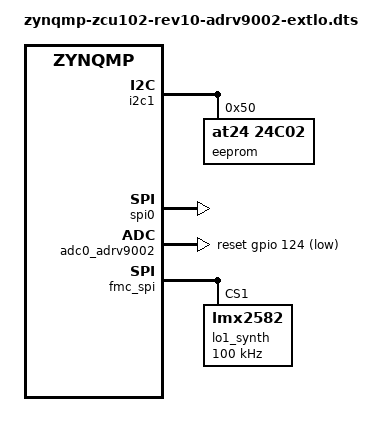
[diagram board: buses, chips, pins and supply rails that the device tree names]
// SPDX-License-Identifier: GPL-2.0
/*
 * Analog Devices ADRV9002
 *
 * hdl_project: <adrv9001/zcu102>
 * board_revision: <>
 *
 * Copyright (C) 2020 Analog Devices Inc.
 */
#include "zynqmp-zcu102-rev1.0.dts"
#include <dt-bindings/interrupt-controller/irq.h>
#include <dt-bindings/gpio/gpio.h>
#include <dt-bindings/iio/frequency/lmx2582.h>

&i2c1 {
	i2c-mux@75 {
		i2c@0 { /* HPC0 */
			#address-cells = <1>;
			#size-cells = <0>;
			reg = <0>;
			/* HPC0_IIC */
			eeprom@50 {
				compatible = "at24,24c02";
				reg = <0x50>;
			};
		};
	};
};

/ {
	fpga_axi  {
		interrupt-parent = <&gic>;
		compatible = "simple-bus";
		#address-cells = <0x1>;
		#size-cells = <0x1>;
		ranges = <0 0 0 0xffffffff>;

		rx1_dma: dma@84A30000 {
			compatible = "adi,axi-dmac-1.00.a";
			reg = <0x84A30000 0x10000>;
			#dma-cells = <1>;
			dma-coherent;
			interrupts = <0 109 IRQ_TYPE_LEVEL_HIGH>;
			clocks = <&zynqmp_clk 71>;
		};

		rx2_dma: dma@84A40000 {
			compatible = "adi,axi-dmac-1.00.a";
			reg = <0x84A40000 0x10000>;
			#dma-cells = <1>;
			dma-coherent;
			interrupts = <0 108 IRQ_TYPE_LEVEL_HIGH>;
			clocks = <&zynqmp_clk 71>;
		};

		tx1_dma: dma@84A50000 {
			compatible = "adi,axi-dmac-1.00.a";
			reg = <0x84A50000 0x10000>;
			#dma-cells = <1>;
			dma-coherent;
			interrupts = <0 105 IRQ_TYPE_LEVEL_HIGH>;
			clocks = <&zynqmp_clk 71>;
		};

		tx2_dma: dma@84A6000 {
			compatible = "adi,axi-dmac-1.00.a";
			reg = <0x84A60000 0x10000>;
			#dma-cells = <1>;
			dma-coherent;
			interrupts = <0 106 IRQ_TYPE_LEVEL_HIGH>;
			clocks = <&zynqmp_clk 71>;
		};

		axi_adrv9002_core_rx1: axi-adrv9002-rx-lpc@84A00000 {
			compatible = "adi,axi-adrv9002-rx-1.0";
			reg = <0x84A00000 0x6000>;
			clocks = <&adc0_adrv9002 0>;
			dmas = <&rx1_dma 0>;
			dma-names = "rx";
			spibus-connected = <&adc0_adrv9002>;
		};

		axi_adrv9002_core_tx1: axi-adrv9002-tx-lpc@84A04000 {
			compatible = "adi,axi-adrv9002-tx-1.0";
			reg = <0x84A0A000 0x2000>;
			clocks = <&adc0_adrv9002 1>;
			clock-names = "sampl_clk";
			dmas = <&tx1_dma 0>;
			dma-names = "tx";
			adi,axi-dds-default-scale = <0x800>;
			adi,axi-dds-default-frequency = <2000000>;
		};

		axi_adrv9002_core_tdd1: axi-adrv9002-core-tdd1-lpc@44A0C800 {
			compatible = "adi,axi-tdd-1.00";
			reg = <0x84A0C800 0x400>;
			clocks = <&zynqmp_clk 71>, <&adc0_adrv9002 2>;
			clock-names = "s_axi_aclk", "intf_clk";
			label = "axi-core-tdd-1";
		};

		axi_adrv9002_core_rx2: axi-adrv9002-rx2-lpc@84A02000 {
			compatible = "adi,axi-adrv9002-rx2-1.0";
			reg = <0x84A09000 0x1000>;
			clocks = <&adc0_adrv9002 3>;
			clock-names = "sampl_clk";
			dmas = <&rx2_dma 0>;
			dma-names = "rx";
		};

		axi_adrv9002_core_tx2: axi-adrv9002-tx2-lpc@84A06000 {
			compatible = "adi,axi-adrv9002-tx-1.0";
			reg = <0x84A0C000 0x2000>;
			clocks = <&adc0_adrv9002 4>;
			clock-names = "sampl_clk";
			dmas = <&tx2_dma 0>;
			dma-names = "tx";
			adi,axi-dds-default-scale = <0x800>;
			adi,axi-dds-default-frequency = <2000000>;
		};

		axi_adrv9002_core_tdd2: axi-adrv9002-core-tdd2-lpc@44A0C800 {
			compatible = "adi,axi-tdd-1.00";
			reg = <0x84A0CC00 0x400>;
			clocks = <&zynqmp_clk 71>, <&adc0_adrv9002 5>;
			clock-names = "s_axi_aclk", "intf_clk";
			label = "axi-core-tdd-2";
		};

		axi_sysid_0: axi-sysid-0@85000000 {
			compatible = "adi,axi-sysid-1.00.a";
			reg = <0x85000000 0x10000>;
		};

    };
};

&spi0 {
	status = "okay";
	num-cs = <3>;
	is-decoded-cs = <0>;
};

#define fmc_spi spi0

#include "adi-adrv9002.dtsi"

/*
Name		HDL	Linux
ssi_sync	54	132
mcs		53	131
output_enable	52	130
tx2_enable	51	129
tx1_enable	50	128
rx2_enable	49	127
rx1_enable	48	126
sm_fan_tach	47	125
reset_trx	46	124
mode		45	123
gp_int		44	122
dgpio_11	43	121
dgpio_10	42	120
dgpio_9		41	119
dgpio_8		40	118
dgpio_7		39	117
dgpio_6		38	116
dgpio_5		37	115
dgpio_4		36	114
dgpio_3		35	113
dgpio_2		34	112
dgpio_1		33	111
dgpio_0		32	110
*/

&adc0_adrv9002 {
	reset-gpios = <&gpio 124 GPIO_ACTIVE_LOW>;

	/* Clocks */
	clocks = <&adrv9002_clkin>, <&lo1_synth 0>, <&lo1_synth 1>;
	clock-names = "adrv9002_ext_refclk", "ext_lo1", "ext_lo2";
};

/*
	ADRV9002 External LO Notes
	The LO clock should have correct frequency and needs to be synchronized
	to the Device Clock. This means feeding e.g. a 100 MHz clock to both the
	DEVCLK (by default 38.4 MHz on board oscillator is used) and EXT_LO1/2
	ref clock and set the dev clock to 100 MHz in TES GUI.
	Regenerate the profile and replace the Navassa_xxx_profile.json in
	firmware directory and rebuild the kernel.
*/

/ {
	clocks {
		adrv9002_clkin: clock@0 {
			compatible = "fixed-clock";

			clock-frequency = <100000000>;
			clock-output-names = "adrv9002_ext_refclk";
			#clock-cells = <0>;
		};
	};
};

&fmc_spi {
	lo1_synth: lmx2582_lo1_synth@1 {
		#address-cells = <1>;
		#size-cells = <0>;
		#clock-cells = <1>;
		compatible = "lmx2582";
		reg = <1>;
		spi-max-frequency = <100000>;
		clocks = <&adrv9002_clkin>;
		clock-names = "clkin";
		clock-output-names = "adrv9002_ext_lo1", "adrv9002_ext_lo2";
		//lmx,muxout-sel-readback;
		//lmx,osc-2x;
		lmx,mult = <LMX2582_MULT_BYPASS>;
		lmx,pll-r = <1>;
		lmx,pll-r-pre = <1>;
		//lmx,cp-disable;
		//lmx,cp-idn = <3>;
		//lmx,cp-iup = <3>;
		//lmx,cp-icoarse = <1>;
		lmx,pll-n-pre = <LMX2582_PLL_N_PRE_DIV2>;
		lmx,pll-n = <18>;
		lmx,pll-num = <0>;
		lmx,pll-den = <1>;
		//lmx,muxout-hdrv;
		//lmx,ld-type-calstat;
		lmx,chdiv-seg1 = <LMX2582_CHDIV_SEG1_DIV2>;
		lmx,chdiv-seg2 = <LMX2582_CHDIV_SEG2_DIV4>;
		lmx,chdiv-seg3 = <LMX2582_CHDIV_SEG3_DIV2>;
		lmx,chdiv-seg-sel = <LMX2582_CHDIV_SEG_SEL_12>;

		lo1_synth_c0: channel@0 {
			reg = <0>;
			lmx,output-enable;
			lmx,output-power = <30>;
			//lmx,mux-sel-vco;
		};

		lo1_synth_c1: channel@1 {
			reg = <1>;
			lmx,output-enable;
			//lmx,output-power = <15>;
			//lmx,mux-sel-vco;
		};
	};
};
